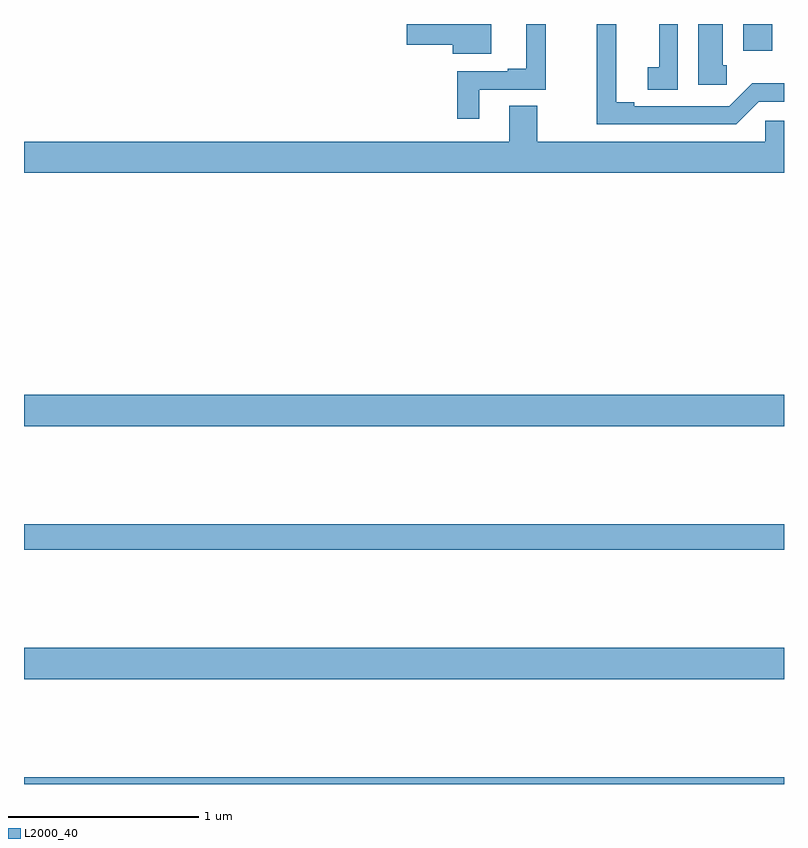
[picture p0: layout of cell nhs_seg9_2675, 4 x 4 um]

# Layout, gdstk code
import gdstk
lib = gdstk.Library(unit=1e-6, precision=1e-09)
def R(c, l, rs):  # rectangles x0, y0, x1, y1
    for r in rs: c.add(gdstk.rectangle(r[:2], r[2:], *l))
def P(c, l, *ps):  # polygons
    for p in ps: c.add(gdstk.Polygon(p, *l))
L2000_40 = (2000, 40)

nhs_seg9_2675 = lib.new_cell('nhs_seg9_2675')
R(nhs_seg9_2675, L2000_40, [(263,1230.5,267,1230.536), (263,1231.052,267,1231.216), (263,1231.732,267,1231.868), (263,1232.384,267,1232.548), (266.786,1234.359,266.938,1234.5)])
P(nhs_seg9_2675, L2000_40, [(265.396,1234.155),(265.745,1234.155),(265.745,1234.5),(265.643,1234.5),(265.643,1234.264),(265.547,1234.264),(265.547,1234.251),(265.279,1234.251),(265.279,1234.002),(265.396,1234.002)],
  [(266.442,1234.5),(266.344,1234.5),(266.344,1234.273),(266.283,1234.273),(266.283,1234.153),(266.442,1234.153)],
  [(266.699,1234.284),(266.677,1234.284),(266.677,1234.5),(266.549,1234.5),(266.549,1234.179),(266.699,1234.179)],
  [(266.868,1234.092),(267,1234.092),(267,1234.189),(266.833,1234.189),(266.712,1234.068),(266.212,1234.068),(266.212,1234.088),(266.116,1234.088),(266.116,1234.371),(266.118,1234.371),(266.118,1234.5),(266.014,1234.5),(266.014,1233.972),(266.748,1233.972)],
  [(265.459,1234.5),(265.014,1234.5),(265.014,1234.391),(265.256,1234.391),(265.256,1234.343),(265.459,1234.343)],
  [(267,1233.99),(266.901,1233.99),(266.901,1233.88),(265.701,1233.88),(265.701,1234.07),(265.553,1234.07),(265.553,1233.88),(263,1233.88),(263,1233.716),(267,1233.716)])

lib.write_gds('nhs_seg9_2675.gds')
